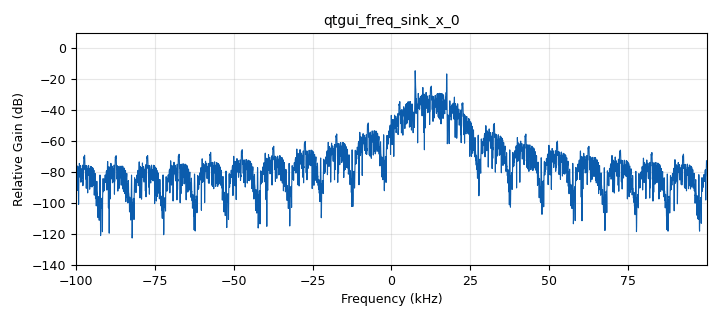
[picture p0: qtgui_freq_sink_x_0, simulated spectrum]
options:
  parameters:
    author: jonasj2001
    generate_options: qt_gui
    id: fsk
    output_language: python
    title: fsk
  states: {}

blocks:
- name: inp_amp
  id: variable
  parameters:
    value: mark/max_vco - vco_offset
  states: {}
- name: mark
  id: variable
  parameters:
    value: (max_vco+(1/t_symb))/2
  states: {}
- name: max_vco
  id: variable
  parameters:
    value: '25000'
  states: {}
- name: samp_rate
  id: variable
  parameters:
    value: int(200e3)
  states: {}
- name: space
  id: variable
  parameters:
    value: (max_vco-(1/t_symb))/2
  states: {}
- name: t_symb
  id: variable
  parameters:
    value: 1/9600
  states: {}
- name: vco_offset
  id: variable
  parameters:
    value: space/max_vco
  states: {}
- name: analog_random_source_x_0
  id: analog_random_source_x
  parameters:
    max: '256'
    min: '0'
    num_samps: '1000'
    repeat: 'True'
    type: byte
  states: {}
- name: blocks_add_const_vxx_0
  id: blocks_add_const_vxx
  parameters:
    const: vco_offset
    type: float
  states: {}
- name: blocks_multiply_const_vxx_0
  id: blocks_multiply_const_vxx
  parameters:
    const: inp_amp
    type: float
  states: {}
- name: blocks_repeat_0
  id: blocks_repeat
  parameters:
    interp: int(samp_rate*t_symb)
    type: byte
  states: {}
- name: blocks_uchar_to_float_0
  id: blocks_uchar_to_float
  parameters: {}
  states: {}
- name: blocks_unpack_k_bits_bb_0
  id: blocks_unpack_k_bits_bb
  parameters:
    k: '8'
  states: {}
- name: blocks_vco_c_0
  id: blocks_vco_c
  parameters:
    amplitude: '0.999'
    samp_rate: samp_rate
    sensitivity: 2*math.pi*max_vco
  states: {}
- name: import_0
  id: import
  parameters:
    imports: import math
  states: {}
- name: qtgui_freq_sink_x_0
  id: qtgui_freq_sink_x
  parameters:
    bw: samp_rate
    fc: '0'
    fftsize: '4096'
    type: complex
  states: {}

connections:
- [analog_random_source_x_0, '0', blocks_unpack_k_bits_bb_0, '0']
- [blocks_add_const_vxx_0, '0', blocks_vco_c_0, '0']
- [blocks_multiply_const_vxx_0, '0', blocks_add_const_vxx_0, '0']
- [blocks_repeat_0, '0', blocks_uchar_to_float_0, '0']
- [blocks_uchar_to_float_0, '0', blocks_multiply_const_vxx_0, '0']
- [blocks_unpack_k_bits_bb_0, '0', blocks_repeat_0, '0']
- [blocks_vco_c_0, '0', qtgui_freq_sink_x_0, '0']

metadata:
  file_format: 1
  grc_version: 3.10.5.1
